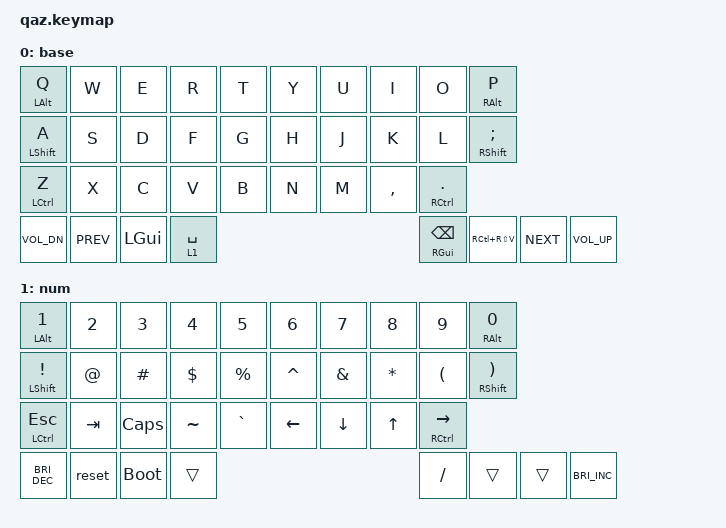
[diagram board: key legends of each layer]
/*
 * Copyright (c) 2020 The ZMK Contributors
 * SPDX-License-Identifier: MIT
 */

#include <behaviors.dtsi>
#include <dt-bindings/zmk/keys.h>
#include <dt-bindings/zmk/bt.h>

&mt {
	quick_tap_ms = <150>;
};

&lt {
  quick_tap_ms = <110>;
};

/ {
	combos {
		#include "combos.h"
		COMBO(ENTR, &kp RET, 3 6)
		COMBO(QUOT, &kp SQT, 14 15)
		COMBO(DQUO, &kp DQT, 22 26)
		COMBO(LBRC, &kp LBRC, 2 3)
		COMBO(RBRC, &kp RBRC, 3 4)
		COMBO(LBKT, &kp LBKT, 5 6)
		COMBO(RBKT, &kp RBKT, 6 7)
		COMBO(BKSL, &kp BSLH, 2 7)
		COMBO(COLN, &kp COLON, 4 5)
		COMBO(PLUS, &kp PLUS, 11 18)
		COMBO(QUES, &kp QMARK, 23 26)
		COMBO(UNDS, &kp UNDER, 24 25)
		COMBO(MINS, &kp MINUS, 13 16)
		COMBO(EQAL, &kp EQUAL, 12 17)
	};
};


/ {
	keymap {
		compatible = "zmk,keymap";
			base {
				bindings = <
					&mt LALT Q  &kp W  &kp E &kp R &kp T &kp Y &kp U &kp I     &kp O       &mt RALT P
					&mt LSHFT A &kp S  &kp D &kp F &kp G &kp H &kp J &kp K     &kp L       &mt RSHFT SEMI
					&mt LCTL Z  &kp X  &kp C &kp V &kp B &kp N &kp M &kp COMMA &mt RCTL DOT
					&kp C_VOL_DN &kp C_PREV &kp LGUI &lt 1 SPACE &mt RGUI BSPC &kp RC(RS(V)) &kp C_NEXT &kp C_VOL_UP
        >;
      };
      num {
      	bindings = <
					&mt LALT N1    &kp N2  &kp N3   &kp N4    &kp N5    &kp N6    &kp N7        &kp N8    &kp N9        &mt RALT N0
					&mt LSHFT EXCL &kp AT  &kp HASH &kp DLLR  &kp PRCNT &kp CARET &kp AMPERSAND &kp ASTRK &kp LPAR      &mt RSHFT RPAR
					&mt LCTL ESC   &kp TAB &kp CAPS &kp TILDE &kp GRAVE &kp LEFT  &kp DOWN      &kp UP    &mt RCTL RIGHT
					&kp C_BRI_DEC &reset &bootloader &trans &kp FSLH &trans &trans &kp C_BRI_INC
        >;
      };
  };
};
